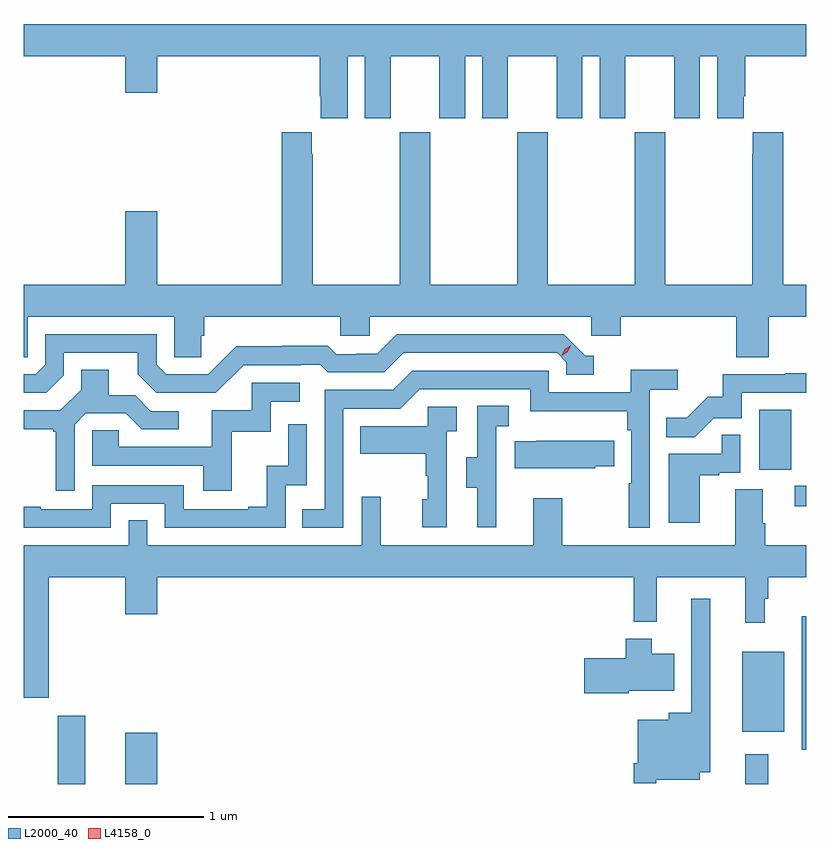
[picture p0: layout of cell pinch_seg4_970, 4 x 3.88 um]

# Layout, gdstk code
import gdstk
lib = gdstk.Library(unit=1e-6, precision=1e-09)
def R(c, l, rs):  # rectangles x0, y0, x1, y1
    for r in rs: c.add(gdstk.rectangle(r[:2], r[2:], *l))
def P(c, l, *ps):  # polygons
    for p in ps: c.add(gdstk.Polygon(p, *l))
L2000_40 = (2000, 40)
L4158_0 = (4158, 0)

pinch_seg4_970 = lib.new_cell('pinch_seg4_970')
R(pinch_seg4_970, L2000_40, [(883.943,778.448,884.083,778.798), (884.288,778.448,884.452,778.711), (887.455,778.448,887.573,778.6), (887.745,778.624,887.768,779.305), (887.441,778.715,887.656,779.125), (887.709,779.868,887.768,779.973), (887.528,780.054,887.692,780.361)])
P(pinch_seg4_970, L2000_40, [(885.424,782.168),(885.512,782.168),(885.512,781.851),(885.643,781.851),(885.643,782.168),(885.893,782.168),(885.893,781.851),(886.024,781.851),(886.024,782.168),(886.112,782.168),(886.112,781.851),(886.243,781.851),(886.243,782.168),(886.493,782.168),(886.493,781.851),(886.624,781.851),(886.624,782.168),(886.712,782.168),(886.712,781.851),(886.843,781.851),(886.843,782.168),(887.093,782.168),(887.093,781.851),(887.224,781.851),(887.224,782.168),(887.312,782.168),(887.312,781.851),(887.449,781.851),(887.449,781.963),(887.456,781.963),(887.456,782.168),(887.768,782.168),(887.768,782.332),(883.768,782.332),(883.768,782.168),(884.288,782.168),(884.288,781.98),(884.452,781.98),(884.452,782.168),(885.281,782.168),(885.281,781.963),(885.287,781.963),(885.287,781.851),(885.424,781.851)],
  [(883.788,780.836),(884.538,780.836),(884.538,780.628),(884.675,780.628),(884.675,780.738),(884.69,780.738),(884.69,780.836),(885.387,780.836),(885.387,780.738),(885.537,780.738),(885.537,780.836),(886.668,780.836),(886.668,780.738),(886.82,780.738),(886.82,780.836),(887.411,780.836),(887.411,780.628),(887.576,780.628),(887.576,780.836),(887.768,780.836),(887.768,781),(887.651,781),(887.651,781.78),(887.495,781.78),(887.495,781.667),(887.491,781.667),(887.491,781),(887.046,781),(887.046,781.78),(886.891,781.78),(886.891,781),(886.446,781),(886.446,781.78),(886.291,781.78),(886.291,781),(885.846,781),(885.846,781.78),(885.691,781.78),(885.691,781),(885.246,781),(885.246,781.667),(885.241,781.667),(885.241,781.78),(885.086,781.78),(885.086,781),(884.452,781),(884.452,781.375),(884.288,781.375),(884.288,781),(883.768,781),(883.768,780.628),(883.788,780.628)],
  [(883.974,780.537),(883.974,780.651),(884.351,780.651),(884.351,780.541),(884.445,780.447),(884.751,780.447),(884.892,780.588),(885.185,780.588),(885.185,780.591),(885.284,780.591),(885.323,780.552),(885.612,780.552),(885.711,780.651),(886.494,780.651),(886.542,780.603),(886.542,780.54),(886.681,780.54),(886.681,780.636),(886.638,780.636),(886.527,780.747),(885.674,780.747),(885.575,780.648),(885.468,780.648),(885.468,780.645),(885.365,780.645),(885.323,780.688),(885.09,780.688),(885.09,780.685),(884.854,780.685),(884.712,780.543),(884.496,780.543),(884.448,780.591),(884.448,780.747),(883.878,780.747),(883.878,780.591),(883.83,780.543),(883.768,780.543),(883.768,780.447),(883.884,780.447)],
  [(885.402,780.366),(885.693,780.366),(885.792,780.465),(886.356,780.465),(886.356,780.353),(886.852,780.353),(886.852,780.257),(886.872,780.257),(886.872,779.984),(886.86,779.984),(886.86,779.757),(886.968,779.757),(886.968,780.464),(887.11,780.464),(887.11,780.566),(886.871,780.566),(886.871,780.45),(886.452,780.45),(886.452,780.561),(885.755,780.561),(885.656,780.462),(885.306,780.462),(885.306,779.853),(885.193,779.853),(885.193,779.757),(885.402,779.757)],
  [(884.028,780.285),(884.085,780.342),(884.291,780.342),(884.372,780.261),(884.56,780.261),(884.56,780.354),(884.418,780.354),(884.338,780.434),(884.203,780.434),(884.203,780.566),(884.063,780.566),(884.063,780.464),(883.956,780.357),(883.768,780.357),(883.768,780.26),(883.92,780.26),(883.92,780.249),(883.931,780.249),(883.931,779.946),(884.028,779.946)],
  [(887.295,780.318),(887.439,780.318),(887.439,780.447),(887.768,780.447),(887.768,780.548),(887.659,780.548),(887.659,780.543),(887.341,780.543),(887.341,780.426),(887.264,780.426),(887.157,780.319),(887.053,780.319),(887.053,780.22),(887.197,780.22)],
  [(884.831,780.249),(885.03,780.249),(885.03,780.402),(885.178,780.402),(885.178,780.498),(884.934,780.498),(884.934,780.357),(884.729,780.357),(884.729,780.171),(884.255,780.171),(884.255,780.255),(884.118,780.255),(884.118,780.075),(884.687,780.075),(884.687,779.946),(884.831,779.946)],
  [(886.184,779.973),(886.182,779.973),(886.182,780.277),(886.246,780.277),(886.246,780.38),(886.086,780.38),(886.086,780.117),(886.031,780.117),(886.031,779.962),(886.085,779.962),(886.085,779.76),(886.184,779.76)],
  [(885.93,780.251),(885.982,780.251),(885.982,780.375),(885.834,780.375),(885.834,780.277),(885.487,780.277),(885.487,780.137),(885.822,780.137),(885.822,780.023),(885.832,780.023),(885.832,779.904),(885.806,779.904),(885.806,779.76),(885.93,779.76)],
  [(884.214,779.88),(884.49,779.88),(884.49,779.757),(885.108,779.757),(885.108,779.976),(885.216,779.976),(885.216,780.286),(885.12,780.286),(885.12,780.074),(885.011,780.074),(885.011,779.866),(884.915,779.866),(884.915,779.853),(884.586,779.853),(884.586,779.976),(884.118,779.976),(884.118,779.853),(883.855,779.853),(883.855,779.866),(883.768,779.866),(883.768,779.757),(884.214,779.757)],
  [(887.224,780.027),(887.324,780.027),(887.324,780.039),(887.43,780.039),(887.43,780.233),(887.335,780.233),(887.335,780.135),(887.066,780.135),(887.066,779.784),(887.224,779.784)],
  [(886.689,780.073),(886.787,780.073),(886.787,780.202),(886.387,780.202),(886.387,780.199),(886.279,780.199),(886.279,780.062),(886.689,780.062)],
  [(883.897,779.504),(884.288,779.504),(884.288,779.316),(884.452,779.316),(884.452,779.504),(886.885,779.504),(886.885,779.276),(887.003,779.276),(887.003,779.504),(887.456,779.504),(887.456,779.271),(887.555,779.271),(887.555,779.396),(887.573,779.396),(887.573,779.504),(887.768,779.504),(887.768,779.668),(887.558,779.668),(887.558,779.78),(887.545,779.78),(887.545,779.954),(887.405,779.954),(887.405,779.668),(886.521,779.668),(886.521,779.908),(886.373,779.908),(886.373,779.668),(885.593,779.668),(885.593,779.917),(885.495,779.917),(885.495,779.668),(884.4,779.668),(884.4,779.795),(884.304,779.795),(884.304,779.668),(883.768,779.668),(883.768,778.89),(883.897,778.89)],
  [(887.001,778.469),(887.224,778.469),(887.224,778.508),(887.278,778.508),(887.278,779.395),(887.181,779.395),(887.181,778.813),(887.066,778.813),(887.066,778.777),(886.907,778.777),(886.907,778.555),(886.886,778.555),(886.886,778.451),(887.001,778.451)],
  [(886.86,778.925),(887.092,778.925),(887.092,779.113),(886.978,779.113),(886.978,779.191),(886.844,779.191),(886.844,779.091),(886.632,779.091),(886.632,778.913),(886.86,778.913)])
P(pinch_seg4_970, L4158_0, [(886.518,780.636),(886.518,780.636),(886.534,780.669),(886.565,780.689),(886.565,780.689),(886.565,780.689),(886.549,780.656),(886.519,780.636)])

lib.write_gds('pinch_seg4_970.gds')
